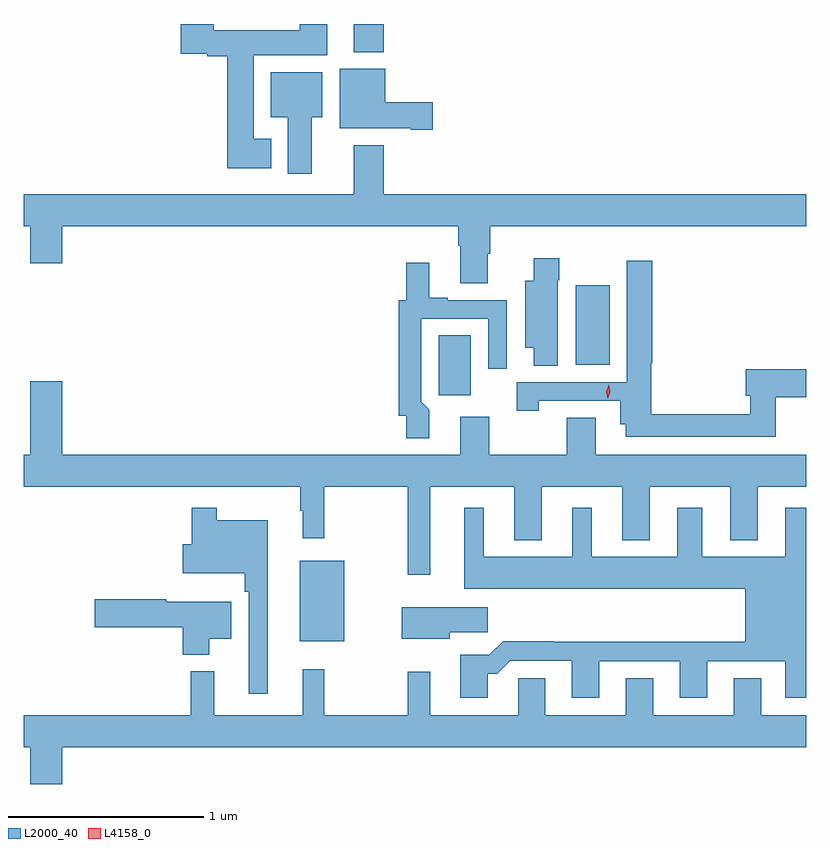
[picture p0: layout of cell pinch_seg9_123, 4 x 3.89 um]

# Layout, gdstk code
import gdstk
lib = gdstk.Library(unit=1e-6, precision=1e-09)
def R(c, l, rs):  # rectangles x0, y0, x1, y1
    for r in rs: c.add(gdstk.rectangle(r[:2], r[2:], *l))
def P(c, l, *ps):  # polygons
    for p in ps: c.add(gdstk.Polygon(p, *l))
L2000_40 = (2000, 40)
L4158_0 = (4158, 0)

pinch_seg9_123 = lib.new_cell('pinch_seg9_123')
R(pinch_seg9_123, L2000_40, [(813.737,1222.271,813.964,1222.681), (814.449,1223.529,814.612,1223.834), (815.15,1223.684,815.323,1224.091), (814.013,1225.283,814.166,1225.427)])
P(pinch_seg9_123, L2000_40, [(813.592,1224.841),(813.502,1224.841),(813.502,1225.268),(813.877,1225.268),(813.877,1225.427),(813.737,1225.427),(813.737,1225.396),(813.298,1225.396),(813.298,1225.427),(813.128,1225.427),(813.128,1225.274),(813.264,1225.274),(813.264,1225.262),(813.368,1225.262),(813.368,1224.689),(813.592,1224.689)],
  [(814.417,1225.028),(814.174,1225.028),(814.174,1225.198),(813.941,1225.198),(813.941,1224.893),(814.304,1224.893),(814.304,1224.886),(814.417,1224.886)],
  [(813.799,1224.95),(813.853,1224.95),(813.853,1225.18),(813.59,1225.18),(813.59,1224.95),(813.677,1224.95),(813.677,1224.66),(813.799,1224.66)],
  [(814.699,1224.252),(814.712,1224.252),(814.712,1224.392),(816.327,1224.392),(816.327,1224.556),(814.166,1224.556),(814.166,1224.808),(814.013,1224.808),(814.013,1224.556),(812.327,1224.556),(812.327,1224.392),(812.36,1224.392),(812.36,1224.204),(812.524,1224.204),(812.524,1224.392),(814.547,1224.392),(814.547,1224.292),(814.559,1224.292),(814.559,1224.1),(814.699,1224.1)],
  [(815.056,1224.116),(815.064,1224.116),(815.064,1224.229),(814.934,1224.229),(814.934,1224.115),(814.892,1224.115),(814.892,1223.771),(814.934,1223.771),(814.934,1223.68),(815.056,1223.68)],
  [(816.173,1223.518),(816.327,1223.518),(816.327,1223.66),(816.019,1223.66),(816.019,1223.525),(816.041,1223.525),(816.041,1223.432),(815.535,1223.432),(815.535,1223.692),(815.54,1223.692),(815.54,1224.217),(815.411,1224.217),(815.411,1223.595),(814.848,1223.595),(814.848,1223.448),(814.961,1223.448),(814.961,1223.499),(815.378,1223.499),(815.378,1223.379),(815.405,1223.379),(815.405,1223.316),(816.173,1223.316)],
  [(814.4,1223.455),(814.359,1223.496),(814.359,1223.919),(814.701,1223.919),(814.701,1223.664),(814.797,1223.664),(814.797,1224.015),(814.495,1224.015),(814.495,1224.028),(814.399,1224.028),(814.399,1224.205),(814.282,1224.205),(814.282,1224.015),(814.243,1224.015),(814.243,1223.424),(814.282,1223.424),(814.282,1223.309),(814.4,1223.309)],
  [(814.405,1223.06),(814.835,1223.06),(814.835,1222.787),(814.975,1222.787),(814.975,1223.06),(815.387,1223.06),(815.387,1222.787),(815.527,1222.787),(815.527,1223.06),(815.939,1223.06),(815.939,1222.787),(816.079,1222.787),(816.079,1223.06),(816.327,1223.06),(816.327,1223.224),(815.251,1223.224),(815.251,1223.414),(815.104,1223.414),(815.104,1223.224),(814.707,1223.224),(814.707,1223.419),(814.559,1223.419),(814.559,1223.224),(812.524,1223.224),(812.524,1223.599),(812.36,1223.599),(812.36,1223.224),(812.327,1223.224),(812.327,1223.06),(813.741,1223.06),(813.741,1222.937),(813.752,1222.937),(813.752,1222.797),(813.862,1222.797),(813.862,1223.06),(814.291,1223.06),(814.291,1222.611),(814.405,1222.611)],
  [(814.699,1222.103),(814.748,1222.103),(814.815,1222.17),(815.129,1222.17),(815.129,1221.981),(815.269,1221.981),(815.269,1222.167),(815.681,1222.167),(815.681,1221.981),(815.821,1221.981),(815.821,1222.167),(816.221,1222.167),(816.221,1221.981),(816.327,1221.981),(816.327,1222.954),(816.221,1222.954),(816.221,1222.702),(815.797,1222.702),(815.797,1222.954),(815.669,1222.954),(815.669,1222.702),(815.23,1222.702),(815.23,1222.954),(815.132,1222.954),(815.132,1222.702),(814.678,1222.702),(814.678,1222.954),(814.58,1222.954),(814.58,1222.538),(816.017,1222.538),(816.017,1222.268),(815.033,1222.268),(815.033,1222.271),(814.778,1222.271),(814.708,1222.201),(814.559,1222.201),(814.559,1221.981),(814.699,1221.981)],
  [(813.574,1222.888),(813.313,1222.888),(813.313,1222.954),(813.184,1222.954),(813.184,1222.767),(813.14,1222.767),(813.14,1222.619),(813.457,1222.619),(813.457,1222.523),(813.477,1222.523),(813.477,1222.002),(813.574,1222.002)],
  [(813.274,1222.283),(813.388,1222.283),(813.388,1222.471),(813.056,1222.471),(813.056,1222.484),(812.688,1222.484),(812.688,1222.342),(813.14,1222.342),(813.14,1222.202),(813.274,1222.202)],
  [(814.504,1222.315),(814.699,1222.315),(814.699,1222.444),(814.26,1222.444),(814.26,1222.283),(814.504,1222.283)],
  [(812.524,1221.728),(816.327,1221.728),(816.327,1221.892),(816.097,1221.892),(816.097,1222.082),(815.957,1222.082),(815.957,1221.892),(815.545,1221.892),(815.545,1222.082),(815.405,1222.082),(815.405,1221.892),(814.993,1221.892),(814.993,1222.082),(814.854,1222.082),(814.854,1221.892),(814.405,1221.892),(814.405,1222.114),(814.291,1222.114),(814.291,1221.892),(813.862,1221.892),(813.862,1222.126),(813.752,1222.126),(813.752,1221.892),(813.299,1221.892),(813.299,1222.117),(813.181,1222.117),(813.181,1221.892),(812.327,1221.892),(812.327,1221.728),(812.36,1221.728),(812.36,1221.54),(812.524,1221.54)])
P(pinch_seg9_123, L4158_0, [(815.313,1223.51),(815.313,1223.51),(815.306,1223.547),(815.318,1223.582),(815.319,1223.582),(815.319,1223.582),(815.326,1223.545),(815.313,1223.51)])

lib.write_gds('pinch_seg9_123.gds')
